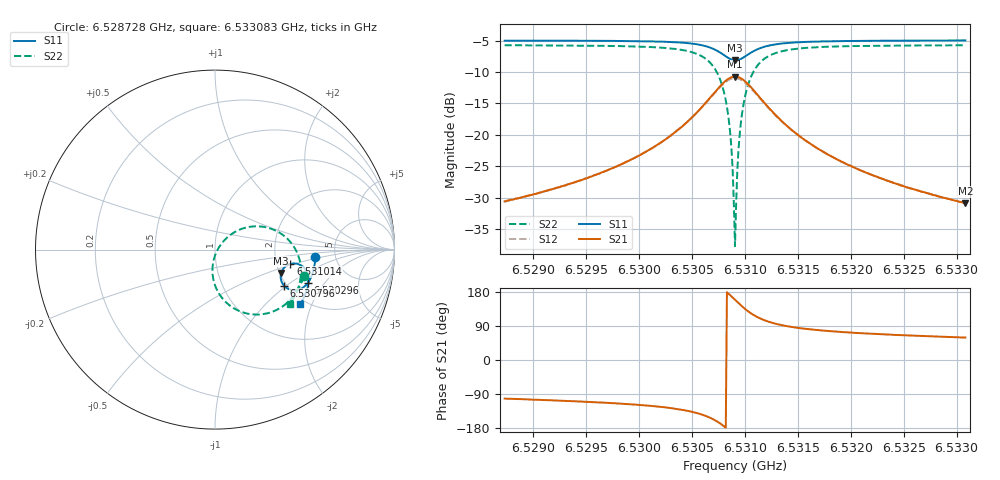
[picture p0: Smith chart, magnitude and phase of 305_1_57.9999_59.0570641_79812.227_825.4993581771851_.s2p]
#  HZ  S  RI  R  50.00
! Rohde & Schwarz Vector Network Analyzer
! Rohde-Schwarz,ZNB20-2Port,1311601062101988,3.16
! Created: UTC 3/21/2024, 1:03:57 AM
! freq[Hz]  re:S11  im:S11  re:S21  im:S21  re:S12  im:S12  re:S22  im:S22
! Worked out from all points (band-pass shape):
!   401 points, 6.528728 GHz to 6.533083 GHz, reference 50 ohm
!   highest |S21| = -10.73 dB at 6.530905 GHz (marker M1); lowest = -30.9 dB at 6.533083 GHz (marker M2)
!   |S21| within 3 dB of the highest: 6.530688 GHz to 6.531124 GHz (435.8 kHz wide, 0.00667 % of centre)
!   lowest |S11| = -8.2 dB at 6.530905 GHz (marker M3), VSWR 2.28, Z = 102 - j31.4 ohm
!   |S11| at or under -10 dB: nowhere
!   |S22| runs from -37.7 to -5.7 dB; largest |S21 - S12| = 0.011
!   S11 on the Smith chart (normalised r, x): 6.528728 GHz: 3.50, -0.45; 6.530296 GHz: 2.59, -1.39; 6.530796 GHz: 1.94, -0.96; 6.531014 GHz: 2.39, -0.47; 6.533083 GHz: 1.85, -1.65
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6.5287276e9  0.5599 -0.0438  -0.00607 -0.0289  -0.00656 -0.0288  0.494 -0.1498
6.5294571e9  0.5511 -0.1038  -0.0148 -0.0412  -0.0157 -0.0411  0.4655 -0.2159
6.5301866e9  0.5243 -0.1749  -0.0465 -0.0711  -0.0484 -0.0699  0.3885 -0.3077
6.5302955e9  0.5156 -0.1876  -0.059 -0.0788  -0.061 -0.0771  0.3625 -0.3257
6.5306331e9  0.4534 -0.2259  -0.1544 -0.0963  -0.1565 -0.0902  0.1817 -0.3571
6.5307311e9  0.4141 -0.2213  -0.2151 -0.0726  -0.2148 -0.0637  0.0784 -0.3084
6.5307964e9  0.385 -0.2012  -0.2585 -0.0279  -0.2543 -0.0183  0.0118 -0.2263
6.5308508e9  0.3682 -0.1698  -0.2801 0.0328  -0.2721 0.0405  -0.0142 -0.122
6.5308726e9  0.3657 -0.1544  -0.2807 0.0615  -0.2717 0.0677  -0.011 -0.075
6.5308835e9  0.3659 -0.1464  -0.2789 0.0758  -0.2697 0.0812  -0.00567 -0.0514
6.5308944e9  0.3669 -0.1384  -0.276 0.0903  -0.2661 0.0949  0.00192 -0.0281
6.5309053e9  0.3688 -0.1305  -0.2713 0.1045  -0.2613 0.1081  0.0116 -0.0059
6.5309162e9  0.3714 -0.1228  -0.2654 0.1179  -0.2554 0.1208  0.0236 0.0154
6.530927e9  0.3749 -0.1155  -0.2582 0.1308  -0.2482 0.1328  0.0377 0.0353
6.5309379e9  0.379 -0.1087  -0.2497 0.1427  -0.24 0.1438  0.0533 0.0535
6.5309597e9  0.3894 -0.097  -0.2301 0.1638  -0.2211 0.1633  0.0891 0.0844
6.5310142e9  0.4205 -0.0796  -0.1729 0.1947  -0.1668 0.1921  0.188 0.1262
6.5310904e9  0.4612 -0.0799  -0.1018 0.1974  -0.0985 0.1947  0.3079 0.1179
6.5311993e9  0.4965 -0.1015  -0.0399 0.1688  -0.0385 0.1671  0.4084 0.0553
6.5316348e9  0.5211 -0.1799  0.0141 0.0818  0.0151 0.0816  0.4789 -0.1282
6.5323643e9  0.5016 -0.2522  0.0166 0.0393  0.0173 0.0391  0.4517 -0.2432
6.533083e9  0.4742 -0.3052  0.0145 0.0247  0.0151 0.0244  0.4168 -0.3045
